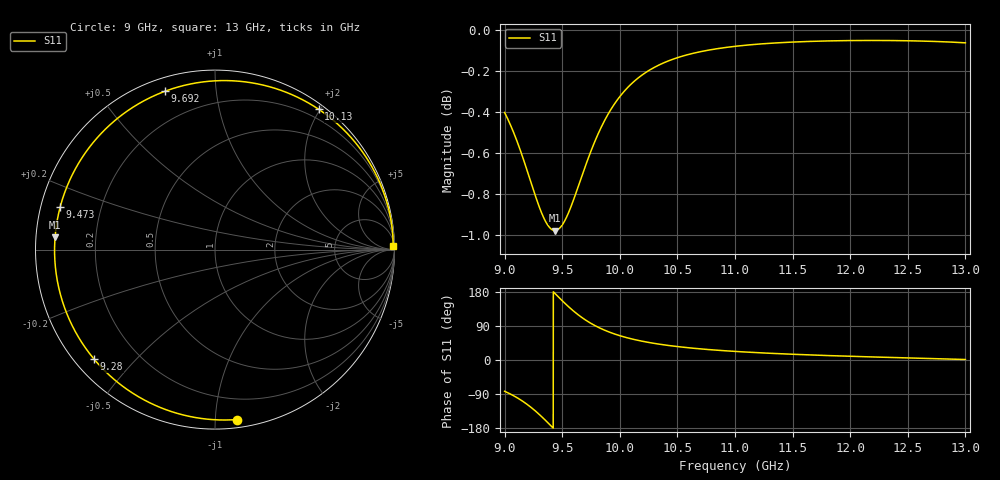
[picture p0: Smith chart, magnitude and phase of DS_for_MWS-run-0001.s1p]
! TOUCHSTONE file generated by CST DESIGN STUDIO
! Date and time: Tue Feb  4 17:16:48 2025
! Project name: C:\Work\MatlabApps\UnitCellOptimizationMatlab\CST\unitcell.cst
! Tree item: Tasks\Sweep1\SPara1\S-Parameters
! Header version: 2024
! Port assignment regex: !\s*Touchstone port\s*([0-9]+)\s*=\s*(CST MWS port|CST DES external port|CST DES block port)\s*(.+)\s* \(\"(.*)\"\)(\s*mode\s*([0-9]+))?.*
! Touchstone port assignment:
! Touchstone port 1 = CST DES external port 1 ("")
# GHz S MA R 50
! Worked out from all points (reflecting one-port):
!   4001 points, 9 GHz to 13 GHz, reference 50 ohm
!   lowest |S11| = -1.0 dB at 9.437 GHz (marker M1), VSWR 17.82, Z = 2.81 + j1.9 ohm
!   phase of S11 starts at -83 deg and turns -276 deg over the sweep
!   S11 on the Smith chart (normalised r, x): 9 GHz: 0.05, -1.14; 9.28 GHz: 0.05, -0.38; 9.473 GHz: 0.06, +0.13; 9.692 GHz: 0.06, +0.73; 10.13 GHz: 0.07, +1.98; 13 GHz: 25, +79
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9  0.9548 -82.6
9.085  0.9431 -95.4
9.155  0.9315 -108.4
9.219  0.9199 -122.5
9.28  0.909 -137.9
9.324  0.9022 -150.2
9.363  0.8975 -161.7
9.4  0.8947 -172.9
9.437  0.8937 175.6
9.473  0.8947 164.6
9.5  0.8965 156.5
9.549  0.9019 142.3
9.596  0.9088 129.8
9.643  0.9167 118.3
9.692  0.925 107.6
9.762  0.9363 94.5
9.844  0.9476 81.9
9.92  0.9561 72.4
10  0.9633 64.2
10.133  0.972 53.5
10.298  0.9791 43.9
10.5  0.9845 35.4
10.723  0.9881 28.7
11  0.9908 22.7
11.5  0.9931 15.1
12  0.994 9.8
12.5  0.9939 5.5
13  0.9927 1.3
